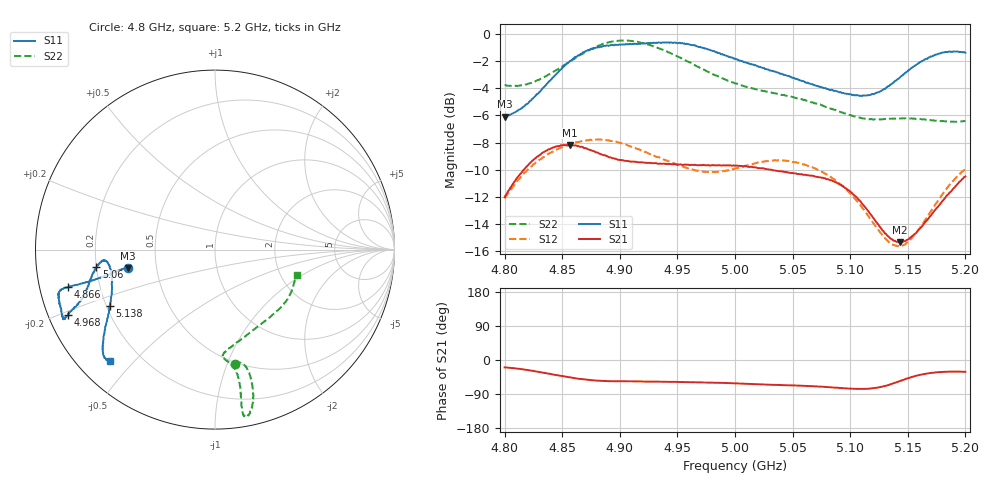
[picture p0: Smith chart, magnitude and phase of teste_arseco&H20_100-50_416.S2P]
! Network Analyzer HP8722D
! Hewlett-Packard
! Data name: Linha & Wilkinson
! Saver's name: Rodrigo Anjos
! Comments: Teste da utilização de aquisição
! continua pelo VNA HP8722D
! Time and date: 6/5/2025 16:02
!  Frequency  S11  S21  S12  S22
# HZ  S  MA R 50
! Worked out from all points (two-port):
!   401 points, 4.8 GHz to 5.2 GHz, reference 50 ohm
!   highest |S21| = -8.17 dB at 4.857 GHz (marker M1); lowest = -15.3 dB at 5.143 GHz (marker M2)
!   |S21| within 3 dB of the highest: 4.806 GHz to 5.093 GHz (286.7 MHz wide, 5.79 % of centre); 5.191813 GHz to end of sweep
!   lowest |S11| = -6.1 dB at 4.8 GHz (marker M3), VSWR 2.97, Z = 17 - j4.61 ohm
!   |S11| at or under -10 dB: nowhere
!   |S22| runs from -6.5 to -0.5 dB; largest |S21 - S12| = 0.62
!   S11 on the Smith chart (normalised r, x): 4.8 GHz: 0.34, -0.09; 4.866 GHz: 0.09, -0.13; 4.968 GHz: 0.06, -0.21; 5.06 GHz: 0.20, -0.07; 5.138 GHz: 0.21, -0.24; 5.2 GHz: 0.09, -0.43
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4.8e9  0.4962 -168.1  0.2509 -19.6  0.2482 -140.7  0.6481 -80.3
4.828e9  0.5999 -167.0  0.3532 -30.3  0.3381 -144.6  0.6744 -75.4
4.857e9  0.7946 -165.7  0.3906 -46.2  0.3927 -150.0  0.7922 -74.7
4.866e9  0.8436 -165.6  0.3841 -50.1  0.4021 -151.7  0.8366 -75.3
4.867e9  0.8471 -165.7  0.3845 -50.6  0.4034 -151.9  0.843 -75.3
4.899e9  0.9127 -162.7  0.3445 -56.2  0.3985 -156.5  0.9436 -79.0
4.914e9  0.9177 -159.5  0.3385 -56.4  0.3792 -156.9  0.9373 -80.2
4.934e9  0.9288 -156.4  0.3328 -57.3  0.3522 -155.6  0.8841 -80.4
4.968e9  0.8965 -156.0  0.3286 -58.9  0.3141 -147.5  0.7565 -79.6
5e9  0.8101 -159.0  0.3275 -61.6  0.3198 -137.0  0.6578 -81.2
5.036e9  0.723 -165.5  0.3139 -65.8  0.3422 -134.2  0.6028 -85.5
5.06e9  0.668 -171.5  0.3034 -68.1  0.3307 -136.0  0.5723 -84.2
5.067e9  0.6525 -172.9  0.3008 -68.8  0.3233 -136.7  0.5599 -82.6
5.084e9  0.6231 -174.4  0.2892 -72.3  0.2954 -138.2  0.5297 -76.2
5.101e9  0.5983 -171.9  0.2611 -75.7  0.2562 -138.6  0.5015 -66.7
5.116e9  0.5949 -165.6  0.2222 -75.9  0.2132 -135.5  0.4852 -55.8
5.134e9  0.6447 -154.1  0.1784 -65.3  0.1708 -120.7  0.4874 -43.3
5.138e9  0.6655 -151.9  0.1734 -61.4  0.1673 -115.7  0.4874 -40.9
5.143e9  0.6899 -149.1  0.1712 -55.9  0.1658 -109.1  0.4882 -38.0
5.154e9  0.7529 -144.4  0.1807 -44.5  0.1787 -95.0  0.488 -32.3
5.174e9  0.8387 -138.3  0.2262 -32.7  0.2364 -80.2  0.4789 -23.9
5.2e9  0.8527 -133.4  0.2991 -31.2  0.3188 -76.8  0.477 -17.6
